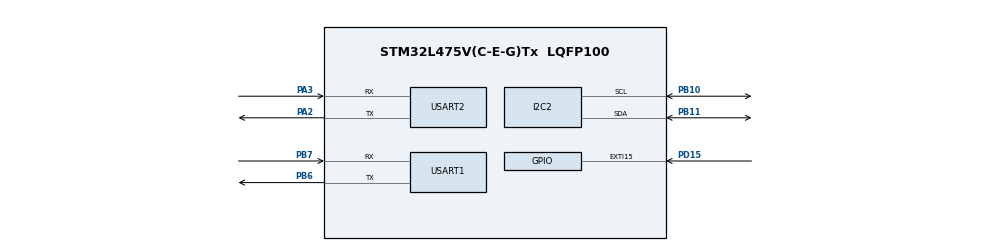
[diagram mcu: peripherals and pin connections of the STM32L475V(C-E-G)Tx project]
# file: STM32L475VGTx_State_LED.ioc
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Mcu.Family=STM32L4
Mcu.Name=STM32L475V(C-E-G)Tx
Mcu.Package=LQFP100
NVIC.PriorityGroup=NVIC_PRIORITYGROUP_4
PA2.Mode=Asynchronous
PA2.Signal=USART2_TX
PA3.Mode=Asynchronous
PA3.Signal=USART2_RX
PB10.Mode=I2C
PB10.Signal=I2C2_SCL
PB11.Mode=I2C
PB11.Signal=I2C2_SDA
PB6.Mode=Asynchronous
PB6.Signal=USART1_TX
PB7.Mode=Asynchronous
PB7.Signal=USART1_RX
PD15.Signal=GPXTI15
ProjectManager.HeapSize=0x200
ProjectManager.StackSize=0x400
ProjectManager.TargetToolchain=STM32CubeIDE
RCC.HSE_VALUE=8000000
RCC.HSI_VALUE=16000000
RCC.LSE_VALUE=32768
RCC.MSI_VALUE=4000000
RCC.VCOOutputFreq_Value=32000000
USART1.VirtualMode-Asynchronous=VM_ASYNC
USART2.VirtualMode-Asynchronous=VM_ASYNC
board=custom

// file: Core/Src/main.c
/* USER CODE BEGIN Header */
/**
  ******************************************************************************
  * @file           : main.c
  * @brief          : Main program body
  ******************************************************************************
  * @attention
  *
  * <h2><center>&copy; Copyright (c) 2020 STMicroelectronics.
  * All rights reserved.</center></h2>
  *
  * This software component is licensed by ST under BSD 3-Clause license,
  * the "License"; You may not use this file except in compliance with the
  * License. You may obtain a copy of the License at:
  *                        opensource.org/licenses/BSD-3-Clause
  *
  ******************************************************************************
  */
/* USER CODE END Header */
#include "main.h"

/* USER CODE BEGIN Includes */
#include <string.h>
#include <stdio.h>

//uint16_t device_address=0xBE;
uint16_t register_address = 0x0F;
/* USER CODE END Includes */

I2C_HandleTypeDef hi2c2;

UART_HandleTypeDef huart1;
UART_HandleTypeDef huart2;

/* USER CODE BEGIN PV */
static const uint8_t TMP102_ADDR = 0x5F<<1; //use 8bit address
static const uint8_t TMP102_ADDR_RD = 0x5F<<1; //use 8bit address
static const uint8_t REG_TEMP = 0x00;
static const uint8_t T0_degC_x8 = 0x32;
static const uint8_t T1_degC_x8 = 0x33;
static const uint8_t T_MSB = 0x35;
static const uint8_t T1_OUT_1 = 0x3E;
static const uint8_t T1_OUT_2 = 0x3F;
static const uint8_t T0_OUT_1 = 0x3C;
static const uint8_t T0_OUT_2 = 0x3D;
static const uint8_t T_OUT_1 = 0x2A;
static const uint8_t T_OUT_2 = 0x2B;
//buf[7] = {T0_degC_x8,T1_degC_x8, T0_degC, T0_OUT_1, T0_OUT_2, T1_OUT_1, T1_OUT_2 };
/* USER CODE END PV */

void SystemClock_Config(void);
static void MX_GPIO_Init(void);
static void MX_I2C2_Init(void);
static void MX_USART2_UART_Init(void);
static void MX_USART1_UART_Init(void);

int main(void)
{
  /* USER CODE BEGIN 1 */
	HAL_StatusTypeDef ret;
	uint8_t buf[50];
	uint16_t data[50];
	int16_t val, val1;
	float temp_c;
	//uint8_t T0_0, T0_1, T0, T1, T1_0, T1_1;
	int16_t T0_out, T1_out, T_out;
	uint16_t T0_degC_x8_u16, T1_degC_x8_u16;
	//int16_t T0_degC, T1_degC;
	uint8_t buffer[4], tmp, T__MSB;
	int32_t tmp32;
  /* USER CODE END 1 */

  /* MCU Configuration--------------------------------------------------------*/

  /* Reset of all peripherals, Initializes the Flash interface and the Systick. */
  HAL_Init();

  /* Configure the system clock */
  SystemClock_Config();

  /* Initialize all configured peripherals */
  MX_GPIO_Init();
  MX_I2C2_Init();
  MX_USART2_UART_Init();
  MX_USART1_UART_Init();

  /* Infinite loop */
  /* USER CODE BEGIN WHILE */
  while (1)
  {
	  //*****************Introduce yourself******************************
	  //buf[0] = {T0_degC_x8};
	 // uint8_t buf[12] = {T0_degC_x8,T1_degC_x8, T0_degC, T0_OUT_1, T0_OUT_2, T1_OUT_1, T1_OUT_2 };
	  buf[0]=register_address;
	  ret = HAL_I2C_Master_Transmit(&hi2c2, TMP102_ADDR, buf, 1, HAL_MAX_DELAY);
	  if(ret != HAL_OK){
		  strcpy((char*)buf, "Error Tx \r\n");
	  }else{
		  ret = HAL_I2C_Master_Receive(&hi2c2, TMP102_ADDR, buf, 1, 1000);
		  //Read 2 bytes from the Temperature Register
		  if(ret !=HAL_OK){
			  strcpy((char*)buf, "Error Rx \r\n");
		  }
	  }
	  //strcpy((char *)buf, data)
	  sprintf((char*)buf, "Name is: %d\r\n", buf[0]);
	  //Send out buffer (Temperature or error message)
	  HAL_UART_Transmit(&huart1, buf, strlen((char*)buf), 500);
	  //Wait

	  //******************Read the temperature High************************
	  buf[0]=T_OUT_2;
	  	  ret = HAL_I2C_Master_Transmit(&hi2c2, TMP102_ADDR, buf, 1, HAL_MAX_DELAY);
	  	  if(ret != HAL_OK){
	  		  strcpy((char*)buf, "Error Tx \r\n");
	  	  }else{
	  		  ret = HAL_I2C_Master_Receive(&hi2c2, TMP102_ADDR, buf, 1, 1000);
	  		  //Read 2 bytes from the Temperature Register
	  		  if(ret !=HAL_OK){
	  			  strcpy((char*)buf, "Error Rx \r\n");
	  		  }
	  	  }
	  	T_out = ((int16_t) buf[0]);
	  	  //strcpy((char *)buf, data)
	  	  sprintf((char*)buf, "Temperature is: %d H \r\n", T_out<< 8);
	  	  //Send out buffer (Temperature or error message)
	  	  HAL_UART_Transmit(&huart1, buf, strlen((char*)buf), 500);
	  	//******************Read the temperature Low************************
	  		  buf[0]=T_OUT_1;
	  		  	  ret = HAL_I2C_Master_Transmit(&hi2c2, TMP102_ADDR, buf, 1, HAL_MAX_DELAY);
	  		  	  if(ret != HAL_OK){
	  		  		  strcpy((char*)buf, "Error Tx \r\n");
	  		  	  }else{
	  		  		  ret = HAL_I2C_Master_Receive(&hi2c2, TMP102_ADDR, buf, 1, 1000);
	  		  		  //Read 2 bytes from the Temperature Register
	  		  		  if(ret !=HAL_OK){
	  		  			  strcpy((char*)buf, "Error Rx \r\n");
	  		  		  }
	  		  	  }
	  		  	  //strcpy((char *)buf, data)
	  		  	  T_out = (T_out<<8) | buf[0];
	  		  	  sprintf((char*)data, "Temperature is: %d **\r\n", T_out);

	  		  	  //Send out buffer (Temperature or error message)
	  		  	  HAL_UART_Transmit(&huart1, (uint8_t*)data, strlen((char*)data), 500);
	//******************Read the T0_degC_x8 Low************************
		  buf[0]=T0_degC_x8;
			  ret = HAL_I2C_Master_Transmit(&hi2c2, TMP102_ADDR, buf, 1, HAL_MAX_DELAY);
			  if(ret != HAL_OK){
				  strcpy((char*)buf, "Error Tx \r\n");
			  }else{
				  ret = HAL_I2C_Master_Receive(&hi2c2, TMP102_ADDR, buf, 1, 1000);
				  //Read 2 bytes from the Temperature Register
				  if(ret !=HAL_OK){
					  strcpy((char*)buf, "Error Rx \r\n");
				  }
			  }
			  T0_degC_x8_u16 = ((uint16_t) buf[0]); //Convert to 16 bits awaiting the MSB
			  //strcpy((char *)buf, data)
			  sprintf((char*)data, "T0_degC_x8 is: %u  L\r\n", T0_degC_x8_u16);
			  //Send out buffer (Temperature or error message)
			  HAL_UART_Transmit(&huart1, (uint8_t*)data, strlen((char*)data), 500);
	  //******************Read the T1_degC_x8 High************************
			  buf[0]=T1_degC_x8;
				  ret = HAL_I2C_Master_Transmit(&hi2c2, TMP102_ADDR, buf, 1, HAL_MAX_DELAY);
				  if(ret != HAL_OK){
					  strcpy((char*)buf, "Error Tx \r\n");
				  }else{
					  ret = HAL_I2C_Master_Receive(&hi2c2, TMP102_ADDR, buf, 1, 1000);
					  //Read 2 bytes from the Temperature Register
					  if(ret !=HAL_OK){
						  strcpy((char*)buf, "Error Rx \r\n");
					  }
				  }
				  T1_degC_x8_u16 = (uint16_t) buf[0];//Convert to 16 bits awaiting the MSB
				  //strcpy((char *)buf, data)
				  sprintf((char*)data, "T1_degC_x8 is: %u  H\r\n", T1_degC_x8_u16);
				  //Send out buffer (Temperature or error message)
				HAL_UART_Transmit(&huart1, (uint8_t*)data, strlen((char*)data), 500);
	  //******************Read the MSB************************
				  buf[0]=T_MSB;
					  ret = HAL_I2C_Master_Transmit(&hi2c2, TMP102_ADDR, buf, 1, HAL_MAX_DELAY);
					  if(ret != HAL_OK){
						  strcpy((char*)buf, "Error Tx \r\n");
					  }else{
						  ret = HAL_I2C_Master_Receive(&hi2c2, TMP102_ADDR, buf, 1, 1000);
						  //Read 2 bytes from the Temperature Register
						  if(ret !=HAL_OK){
							  strcpy((char*)buf, "Error Rx \r\n");
						  }
					  }

					  T__MSB = ((uint8_t) buf[0]);//Convert to 16 bits awaiting the MSB
					  //strcpy((char *)buf, data)
					  sprintf((char*)data, "MSB is: %u  \r\n", T__MSB<<8);
					  //Send out buffer (Temperature or error message)
					  HAL_UART_Transmit(&huart1, (uint8_t*)data, strlen((char*)data), 500);

	// ******** LOW MSB *******************
					  T0_degC_x8_u16 = (T__MSB<<8 & 0x300)|T0_degC_x8_u16; //Convert to 16 bits awaiting the MSB
					  //strcpy((char *)buf, data)
					  sprintf((char*)data, "T0_degC_x16 is: %u  L\r\n", T0_degC_x8_u16);
					  //Send out buffer (Temperature or error message)
					  HAL_UART_Transmit(&huart1, (uint8_t*)data, strlen((char*)data), 500);
  // ******** HIgh MSB *******************
					  T1_degC_x8_u16 = (T__MSB<<6 & 0x300)|T1_degC_x8_u16; //Convert to 16 bits awaiting the MSB
					  //strcpy((char *)buf, data)
					  sprintf((char*)data, "T1_degC_x16 is: %u  L\r\n", T1_degC_x8_u16);
					  //Send out buffer (Temperature or error message)
					  HAL_UART_Transmit(&huart1, (uint8_t*)data, strlen((char*)data), 500);

  //******************Read the T0_OUT_2************************
	  buf[0]=T0_OUT_2;
		  ret = HAL_I2C_Master_Transmit(&hi2c2, TMP102_ADDR, buf, 1, HAL_MAX_DELAY);
		  if(ret != HAL_OK){
			  strcpy((char*)buf, "Error Tx \r\n");
		  }else{
			  ret = HAL_I2C_Master_Receive(&hi2c2, TMP102_ADDR, buf, 1, 1000);
			  //Read 2 bytes from the Temperature Register
			  if(ret !=HAL_OK){
				  strcpy((char*)buf, "Error Rx \r\n");
			  }
		  }
		  T0_out = ((int16_t) buf[0]);
		  //strcpy((char *)buf, data)
		  sprintf((char*)buf, "T0_OUT_2: %u H \r\n", T0_out<<8);
		  //Send out buffer (Temperature or error message)
		  HAL_UART_Transmit(&huart1, buf, strlen((char*)buf), 500);
	//******************Read the T0_OUT_1************************
		  buf[0]=T0_OUT_1;
			  ret = HAL_I2C_Master_Transmit(&hi2c2, TMP102_ADDR, buf, 1, HAL_MAX_DELAY);
			  if(ret != HAL_OK){
				  strcpy((char*)buf, "Error Tx \r\n");
			  }else{
				  ret = HAL_I2C_Master_Receive(&hi2c2, TMP102_ADDR, buf, 1, 1000);
				  //Read 2 bytes from the Temperature Register
				  if(ret !=HAL_OK){
					  strcpy((char*)buf, "Error Rx \r\n");
				  }
			  }
			  //strcpy((char *)buf, data)
			  T0_out = (T0_out<<8)| buf[0];
			  //T_out = (T_out<<8) | buf[0];
			  sprintf((char*)data, "T0_OUT: %u **\r\n", T0_out);

			  //Send out buffer (Temperature or error message)
			  HAL_UART_Transmit(&huart1, (uint8_t*)data, strlen((char*)data), 500);
	  //******************Read the T1_OUT_2************************
		  buf[0]=T1_OUT_2;
			  ret = HAL_I2C_Master_Transmit(&hi2c2, TMP102_ADDR, buf, 1, HAL_MAX_DELAY);
			  if(ret != HAL_OK){
				  strcpy((char*)buf, "Error Tx \r\n");
			  }else{
				  ret = HAL_I2C_Master_Receive(&hi2c2, TMP102_ADDR, buf, 1, 1000);
				  //Read 2 bytes from the Temperature Register
				  if(ret !=HAL_OK){
					  strcpy((char*)buf, "Error Rx \r\n");
				  }
			  }
			  T1_out = ((int16_t) buf[0]);
			  //strcpy((char *)buf, data)
			  sprintf((char*)buf, "T1_OUT_2: %u H \r\n", T1_out<<8);
			  //Send out buffer (Temperature or error message)
			  HAL_UART_Transmit(&huart1, buf, strlen((char*)buf), 500);
		//******************Read the T1_OUT_1************************
			  buf[0]=T1_OUT_1;
				  ret = HAL_I2C_Master_Transmit(&hi2c2, TMP102_ADDR, buf, 1, HAL_MAX_DELAY);
				  if(ret != HAL_OK){
					  strcpy((char*)buf, "Error Tx \r\n");
				  }else{
					  ret = HAL_I2C_Master_Receive(&hi2c2, TMP102_ADDR, buf, 1, 1000);
					  //Read 2 bytes from the Temperature Register
					  if(ret !=HAL_OK){
						  strcpy((char*)buf, "Error Rx \r\n");
					  }
				  }
				  //strcpy((char *)buf, data)
				  T1_out = (T1_out<<8)| buf[0];
				  //T_out = (T_out<<8) | buf[0];
				  sprintf((char*)data, "T1_OUT: %u **\r\n", T1_out);

				  //Send out buffer (Temperature or error message)
				  HAL_UART_Transmit(&huart1, (uint8_t*)data, strlen((char*)data), 500);

	  HAL_Delay(1000);

    /* USER CODE END WHILE */

  }
}

void SystemClock_Config(void)
{
  RCC_OscInitTypeDef RCC_OscInitStruct = {0};
  RCC_ClkInitTypeDef RCC_ClkInitStruct = {0};
  RCC_PeriphCLKInitTypeDef PeriphClkInit = {0};

  /** Initializes the RCC Oscillators according to the specified parameters
  * in the RCC_OscInitTypeDef structure.
  */
  RCC_OscInitStruct.OscillatorType = RCC_OSCILLATORTYPE_MSI;
  RCC_OscInitStruct.MSIState = RCC_MSI_ON;
  RCC_OscInitStruct.MSICalibrationValue = 0;
  RCC_OscInitStruct.MSIClockRange = RCC_MSIRANGE_6;
  RCC_OscInitStruct.PLL.PLLState = RCC_PLL_NONE;
  if (HAL_RCC_OscConfig(&RCC_OscInitStruct) != HAL_OK)
  {
    Error_Handler();
  }
  /** Initializes the CPU, AHB and APB buses clocks
  */
  RCC_ClkInitStruct.ClockType = RCC_CLOCKTYPE_HCLK|RCC_CLOCKTYPE_SYSCLK
                              |RCC_CLOCKTYPE_PCLK1|RCC_CLOCKTYPE_PCLK2;
  RCC_ClkInitStruct.SYSCLKSource = RCC_SYSCLKSOURCE_MSI;
  RCC_ClkInitStruct.AHBCLKDivider = RCC_SYSCLK_DIV1;
  RCC_ClkInitStruct.APB1CLKDivider = RCC_HCLK_DIV1;
  RCC_ClkInitStruct.APB2CLKDivider = RCC_HCLK_DIV1;

  if (HAL_RCC_ClockConfig(&RCC_ClkInitStruct, FLASH_LATENCY_0) != HAL_OK)
  {
    Error_Handler();
  }
  PeriphClkInit.PeriphClockSelection = RCC_PERIPHCLK_USART1|RCC_PERIPHCLK_USART2
                              |RCC_PERIPHCLK_I2C2;
  PeriphClkInit.Usart1ClockSelection = RCC_USART1CLKSOURCE_PCLK2;
  PeriphClkInit.Usart2ClockSelection = RCC_USART2CLKSOURCE_PCLK1;
  PeriphClkInit.I2c2ClockSelection = RCC_I2C2CLKSOURCE_PCLK1;
  if (HAL_RCCEx_PeriphCLKConfig(&PeriphClkInit) != HAL_OK)
  {
    Error_Handler();
  }
  /** Configure the main internal regulator output voltage
  */
  if (HAL_PWREx_ControlVoltageScaling(PWR_REGULATOR_VOLTAGE_SCALE1) != HAL_OK)
  {
    Error_Handler();
  }
}

static void MX_I2C2_Init(void)
{

  hi2c2.Instance = I2C2;
  hi2c2.Init.Timing = 0x00000E14;
  hi2c2.Init.OwnAddress1 = 0;
  hi2c2.Init.AddressingMode = I2C_ADDRESSINGMODE_7BIT;
  hi2c2.Init.DualAddressMode = I2C_DUALADDRESS_DISABLE;
  hi2c2.Init.OwnAddress2 = 0;
  hi2c2.Init.OwnAddress2Masks = I2C_OA2_NOMASK;
  hi2c2.Init.GeneralCallMode = I2C_GENERALCALL_DISABLE;
  hi2c2.Init.NoStretchMode = I2C_NOSTRETCH_DISABLE;
  if (HAL_I2C_Init(&hi2c2) != HAL_OK)
  {
    Error_Handler();
  }
  /** Configure Analogue filter
  */
  if (HAL_I2CEx_ConfigAnalogFilter(&hi2c2, I2C_ANALOGFILTER_ENABLE) != HAL_OK)
  {
    Error_Handler();
  }
  /** Configure Digital filter
  */
  if (HAL_I2CEx_ConfigDigitalFilter(&hi2c2, 0) != HAL_OK)
  {
    Error_Handler();
  }

}

static void MX_USART1_UART_Init(void)
{

  huart1.Instance = USART1;
  huart1.Init.BaudRate = 115200;
  huart1.Init.WordLength = UART_WORDLENGTH_8B;
  huart1.Init.StopBits = UART_STOPBITS_1;
  huart1.Init.Parity = UART_PARITY_NONE;
  huart1.Init.Mode = UART_MODE_TX_RX;
  huart1.Init.HwFlowCtl = UART_HWCONTROL_NONE;
  huart1.Init.OverSampling = UART_OVERSAMPLING_16;
  huart1.Init.OneBitSampling = UART_ONE_BIT_SAMPLE_DISABLE;
  huart1.AdvancedInit.AdvFeatureInit = UART_ADVFEATURE_NO_INIT;
  if (HAL_UART_Init(&huart1) != HAL_OK)
  {
    Error_Handler();
  }

}

static void MX_USART2_UART_Init(void)
{

  huart2.Instance = USART2;
  huart2.Init.BaudRate = 115200;
  huart2.Init.WordLength = UART_WORDLENGTH_8B;
  huart2.Init.StopBits = UART_STOPBITS_1;
  huart2.Init.Parity = UART_PARITY_NONE;
  huart2.Init.Mode = UART_MODE_TX_RX;
  huart2.Init.HwFlowCtl = UART_HWCONTROL_NONE;
  huart2.Init.OverSampling = UART_OVERSAMPLING_16;
  huart2.Init.OneBitSampling = UART_ONE_BIT_SAMPLE_DISABLE;
  huart2.AdvancedInit.AdvFeatureInit = UART_ADVFEATURE_NO_INIT;
  if (HAL_UART_Init(&huart2) != HAL_OK)
  {
    Error_Handler();
  }

}

static void MX_GPIO_Init(void)
{
  GPIO_InitTypeDef GPIO_InitStruct = {0};

  /* GPIO Ports Clock Enable */
  __HAL_RCC_GPIOA_CLK_ENABLE();
  __HAL_RCC_GPIOB_CLK_ENABLE();
  __HAL_RCC_GPIOD_CLK_ENABLE();

  /*Configure GPIO pin : PD15 */
  GPIO_InitStruct.Pin = GPIO_PIN_15;
  GPIO_InitStruct.Mode = GPIO_MODE_IT_RISING;
  GPIO_InitStruct.Pull = GPIO_NOPULL;
  HAL_GPIO_Init(GPIOD, &GPIO_InitStruct);

}

void Error_Handler(void)
{
}

/************************ (C) COPYRIGHT STMicroelectronics *****END OF FILE****/
